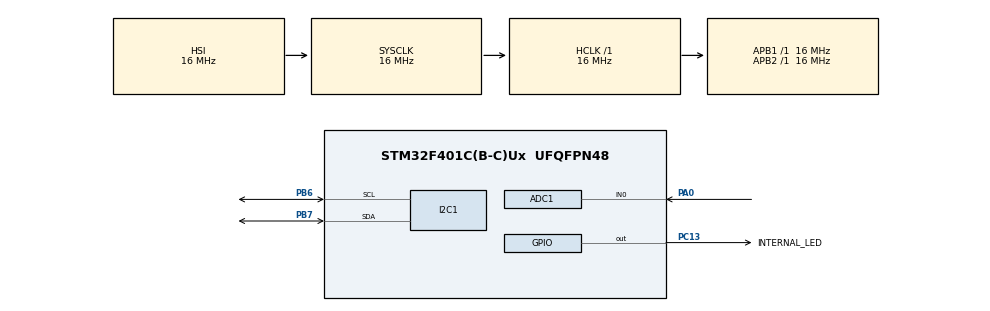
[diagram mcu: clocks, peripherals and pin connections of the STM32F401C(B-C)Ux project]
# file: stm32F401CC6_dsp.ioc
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ADC1.Channel-0\#ChannelRegularConversion=ADC_CHANNEL_0
ADC1.ClockPrescaler=ADC_CLOCK_SYNC_PCLK_DIV4
ADC1.ContinuousConvMode=ENABLE
ADC1.DMAContinuousRequests=ENABLE
ADC1.NbrOfConversionFlag=1
ADC1.Rank-0\#ChannelRegularConversion=1
ADC1.SamplingTime-0\#ChannelRegularConversion=ADC_SAMPLETIME_3CYCLES
ADC1.master=1
Dma.ADC1.0.Direction=DMA_PERIPH_TO_MEMORY
Dma.ADC1.0.FIFOMode=DMA_FIFOMODE_DISABLE
Dma.ADC1.0.Instance=DMA2_Stream0
Dma.ADC1.0.MemDataAlignment=DMA_MDATAALIGN_WORD
Dma.ADC1.0.MemInc=DMA_MINC_ENABLE
Dma.ADC1.0.Mode=DMA_CIRCULAR
Dma.ADC1.0.PeriphDataAlignment=DMA_PDATAALIGN_WORD
Dma.ADC1.0.PeriphInc=DMA_PINC_DISABLE
Dma.ADC1.0.Priority=DMA_PRIORITY_LOW
Dma.Request0=ADC1
Mcu.Family=STM32F4
Mcu.Name=STM32F401C(B-C)Ux
Mcu.Package=UFQFPN48
NVIC.DMA2_Stream0_IRQn=true\:0\:0\:false\:false\:true\:false\:true\:true
NVIC.PriorityGroup=NVIC_PRIORITYGROUP_4
PA0-WKUP.Signal=ADCx_IN0
PA13.Mode=Serial_Wire
PA13.Signal=SYS_JTMS-SWDIO
PA14.Mode=Serial_Wire
PA14.Signal=SYS_JTCK-SWCLK
PB6.Mode=I2C
PB6.Signal=I2C1_SCL
PB7.Mode=I2C
PB7.Signal=I2C1_SDA
PC13-ANTI_TAMP.GPIO_Label=INTERNAL_LED
PC13-ANTI_TAMP.Signal=GPIO_Output
ProjectManager.HeapSize=0x200
ProjectManager.StackSize=0x400
ProjectManager.TargetToolchain=STM32CubeIDE
RCC.AHBFreq_Value=16000000
RCC.APB1Freq_Value=16000000
RCC.APB1TimFreq_Value=16000000
RCC.APB2Freq_Value=16000000
RCC.APB2TimFreq_Value=16000000
RCC.CortexFreq_Value=16000000
RCC.HCLKFreq_Value=16000000
RCC.HSE_VALUE=25000000
RCC.HSI_VALUE=16000000
RCC.LSE_VALUE=32768
RCC.SYSCLKFreq_VALUE=16000000
RCC.VCOOutputFreq_Value=192000000
SH.ADCx_IN0.0=ADC1_IN0,IN0
board=custom

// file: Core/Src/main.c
/* USER CODE BEGIN Header */
/**
  ******************************************************************************
  * @file           : main.c
  * @brief          : Main program body
  ******************************************************************************
  * @attention
  *
  * Copyright (c) 2024 STMicroelectronics.
  * All rights reserved.
  *
  * This software is licensed under terms that can be found in the LICENSE file
  * in the root directory of this software component.
  * If no LICENSE file comes with this software, it is provided AS-IS.
  *
  ******************************************************************************
  */
/* USER CODE END Header */
#include "main.h"
#include "notes.h"
#include "mcp4728.h"

ADC_HandleTypeDef hadc1;
DMA_HandleTypeDef hdma_adc1;

I2C_HandleTypeDef hi2c1;

/* USER CODE BEGIN PV */
int8_t factor = 100;

void setVoltageAndCall(enum note_name noteName, int32_t delay) {
    double noteVoltage = NOTES_GetVoltage(noteName);
    uint8_t voltageLevel = (uint8_t) (noteVoltage * factor);
    MCP4728_Write_EXT_Voltage(&hi2c1, MCP4728_CHANNEL_A, voltageLevel);
    HAL_Delay(delay);
}

/* USER CODE END PV */

void SystemClock_Config(void);

static void MX_GPIO_Init(void);

static void MX_DMA_Init(void);

static void MX_ADC1_Init(void);

static void MX_I2C1_Init(void);

int main(void) {

    /* MCU Configuration--------------------------------------------------------*/

    /* Reset of all peripherals, Initializes the Flash interface and the Systick. */
    HAL_Init();

    /* Configure the system clock */
    SystemClock_Config();

    /* Initialize all configured peripherals */
    MX_GPIO_Init();
    MX_DMA_Init();
    MX_ADC1_Init();
    MX_I2C1_Init();
    /* USER CODE BEGIN 2 */
    HAL_GPIO_WritePin(INTERNAL_LED_GPIO_Port, INTERNAL_LED_Pin, GPIO_PIN_RESET);

    MCP4728_Init(&hi2c1);
    int32_t ok;

    ok = NOTES_init();
    if (ok != 0) {
        HAL_GPIO_WritePin(INTERNAL_LED_GPIO_Port, INTERNAL_LED_Pin, GPIO_PIN_SET);
    }

    /* USER CODE END 2 */

    /* Infinite loop */
    while (1) {

        /* USER CODE BEGIN 3 */
        setVoltageAndCall(NOTE_0_C, 100);
        setVoltageAndCall(NOTE_0_C_SHARP, 100);
        setVoltageAndCall(NOTE_0_D, 100);
        setVoltageAndCall(NOTE_0_D_SHARP, 100);
        setVoltageAndCall(NOTE_0_E, 100);
        setVoltageAndCall(NOTE_0_F, 100);
        setVoltageAndCall(NOTE_0_F_SHARP, 100);
        setVoltageAndCall(NOTE_0_G, 100);
        setVoltageAndCall(NOTE_0_G_SHARP, 100);
        setVoltageAndCall(NOTE_0_A, 100);
        setVoltageAndCall(NOTE_0_A_SHARP, 100);
        setVoltageAndCall(NOTE_0_B, 100);
        HAL_Delay(250);
        setVoltageAndCall(NOTE_1_C, 100);
        setVoltageAndCall(NOTE_1_C_SHARP, 100);
        setVoltageAndCall(NOTE_1_D, 100);
        setVoltageAndCall(NOTE_1_D_SHARP, 100);
        setVoltageAndCall(NOTE_1_E, 100);
        setVoltageAndCall(NOTE_1_F, 100);
        setVoltageAndCall(NOTE_1_F_SHARP, 100);
        setVoltageAndCall(NOTE_1_G, 100);
        setVoltageAndCall(NOTE_1_G_SHARP, 100);
        setVoltageAndCall(NOTE_1_A, 100);
        setVoltageAndCall(NOTE_1_A_SHARP, 100);
        setVoltageAndCall(NOTE_1_B, 100);
        HAL_Delay(250);
        setVoltageAndCall(NOTE_2_C, 100);
        setVoltageAndCall(NOTE_2_C_SHARP, 100);
        setVoltageAndCall(NOTE_2_D, 100);
        setVoltageAndCall(NOTE_2_D_SHARP, 100);
        setVoltageAndCall(NOTE_2_E, 100);
        setVoltageAndCall(NOTE_2_F, 100);
        setVoltageAndCall(NOTE_2_F_SHARP, 100);
        setVoltageAndCall(NOTE_2_G, 100);
        setVoltageAndCall(NOTE_2_G_SHARP, 100);
        setVoltageAndCall(NOTE_2_A, 100);
        setVoltageAndCall(NOTE_2_A_SHARP, 100);
        setVoltageAndCall(NOTE_2_B, 100);
        HAL_Delay(250);
        setVoltageAndCall(NOTE_3_C, 100);
        setVoltageAndCall(NOTE_3_C_SHARP, 100);
        setVoltageAndCall(NOTE_3_D, 100);
        setVoltageAndCall(NOTE_3_D_SHARP, 100);
        setVoltageAndCall(NOTE_3_E, 100);
        setVoltageAndCall(NOTE_3_F, 100);
        setVoltageAndCall(NOTE_3_F_SHARP, 100);
        setVoltageAndCall(NOTE_3_G, 100);
        setVoltageAndCall(NOTE_3_G_SHARP, 100);
        setVoltageAndCall(NOTE_3_A, 100);
        setVoltageAndCall(NOTE_3_A_SHARP, 100);
        setVoltageAndCall(NOTE_3_B, 100);
        HAL_Delay(1000);

//        C – C – G – G – A – A – G – F – F – E – E – D – D – C – G – G – F – F – E – E – D – G – G – F – F – E – E – D – C – G – G – A – G – F – F – E – E – D – C.
        setVoltageAndCall(NOTE_0_C, 200);
        setVoltageAndCall(NOTE_0_C, 100);
        setVoltageAndCall(NOTE_0_G, 200);
        setVoltageAndCall(NOTE_0_G, 100);
        setVoltageAndCall(NOTE_0_A, 200);
        setVoltageAndCall(NOTE_0_A, 200);
        setVoltageAndCall(NOTE_0_G, 100);
        setVoltageAndCall(NOTE_0_F, 200);
        setVoltageAndCall(NOTE_0_F, 200);
        setVoltageAndCall(NOTE_0_E, 200);
        setVoltageAndCall(NOTE_0_E, 200);
        setVoltageAndCall(NOTE_0_D, 200);
        setVoltageAndCall(NOTE_0_D, 200);
        setVoltageAndCall(NOTE_0_C, 400);
        setVoltageAndCall(NOTE_0_G, 200);
        setVoltageAndCall(NOTE_0_G, 200);
        setVoltageAndCall(NOTE_0_F, 100);
        setVoltageAndCall(NOTE_0_F, 200);
        setVoltageAndCall(NOTE_0_E, 150);
        setVoltageAndCall(NOTE_0_E, 200);

        HAL_Delay(1000);

    }
    /* USER CODE END 3 */
}

void SystemClock_Config(void) {
    RCC_OscInitTypeDef RCC_OscInitStruct = {0};
    RCC_ClkInitTypeDef RCC_ClkInitStruct = {0};

    /** Configure the main internal regulator output voltage
    */
    __HAL_RCC_PWR_CLK_ENABLE();
    __HAL_PWR_VOLTAGESCALING_CONFIG(PWR_REGULATOR_VOLTAGE_SCALE2);

    /** Initializes the RCC Oscillators according to the specified parameters
    * in the RCC_OscInitTypeDef structure.
    */
    RCC_OscInitStruct.OscillatorType = RCC_OSCILLATORTYPE_HSI;
    RCC_OscInitStruct.HSIState = RCC_HSI_ON;
    RCC_OscInitStruct.HSICalibrationValue = RCC_HSICALIBRATION_DEFAULT;
    RCC_OscInitStruct.PLL.PLLState = RCC_PLL_NONE;
    if (HAL_RCC_OscConfig(&RCC_OscInitStruct) != HAL_OK) {
        Error_Handler();
    }

    /** Initializes the CPU, AHB and APB buses clocks
    */
    RCC_ClkInitStruct.ClockType = RCC_CLOCKTYPE_HCLK | RCC_CLOCKTYPE_SYSCLK
                                  | RCC_CLOCKTYPE_PCLK1 | RCC_CLOCKTYPE_PCLK2;
    RCC_ClkInitStruct.SYSCLKSource = RCC_SYSCLKSOURCE_HSI;
    RCC_ClkInitStruct.AHBCLKDivider = RCC_SYSCLK_DIV1;
    RCC_ClkInitStruct.APB1CLKDivider = RCC_HCLK_DIV1;
    RCC_ClkInitStruct.APB2CLKDivider = RCC_HCLK_DIV1;

    if (HAL_RCC_ClockConfig(&RCC_ClkInitStruct, FLASH_LATENCY_0) != HAL_OK) {
        Error_Handler();
    }
}

static void MX_ADC1_Init(void) {

    ADC_ChannelConfTypeDef sConfig = {0};

    /** Configure the global features of the ADC (Clock, Resolution, Data Alignment and number of conversion)
    */
    hadc1.Instance = ADC1;
    hadc1.Init.ClockPrescaler = ADC_CLOCK_SYNC_PCLK_DIV4;
    hadc1.Init.Resolution = ADC_RESOLUTION_12B;
    hadc1.Init.ScanConvMode = DISABLE;
    hadc1.Init.ContinuousConvMode = ENABLE;
    hadc1.Init.DiscontinuousConvMode = DISABLE;
    hadc1.Init.ExternalTrigConvEdge = ADC_EXTERNALTRIGCONVEDGE_NONE;
    hadc1.Init.ExternalTrigConv = ADC_SOFTWARE_START;
    hadc1.Init.DataAlign = ADC_DATAALIGN_RIGHT;
    hadc1.Init.NbrOfConversion = 1;
    hadc1.Init.DMAContinuousRequests = ENABLE;
    hadc1.Init.EOCSelection = ADC_EOC_SINGLE_CONV;
    if (HAL_ADC_Init(&hadc1) != HAL_OK) {
        Error_Handler();
    }

    /** Configure for the selected ADC regular channel its corresponding rank in the sequencer and its sample time.
    */
    sConfig.Channel = ADC_CHANNEL_0;
    sConfig.Rank = 1;
    sConfig.SamplingTime = ADC_SAMPLETIME_3CYCLES;
    if (HAL_ADC_ConfigChannel(&hadc1, &sConfig) != HAL_OK) {
        Error_Handler();
    }

}

static void MX_I2C1_Init(void) {

    hi2c1.Instance = I2C1;
    hi2c1.Init.ClockSpeed = 100000;
    hi2c1.Init.DutyCycle = I2C_DUTYCYCLE_2;
    hi2c1.Init.OwnAddress1 = 0;
    hi2c1.Init.AddressingMode = I2C_ADDRESSINGMODE_7BIT;
    hi2c1.Init.DualAddressMode = I2C_DUALADDRESS_DISABLE;
    hi2c1.Init.OwnAddress2 = 0;
    hi2c1.Init.GeneralCallMode = I2C_GENERALCALL_DISABLE;
    hi2c1.Init.NoStretchMode = I2C_NOSTRETCH_DISABLE;
    if (HAL_I2C_Init(&hi2c1) != HAL_OK) {
        Error_Handler();
    }

}

static void MX_DMA_Init(void) {

    /* DMA controller clock enable */
    __HAL_RCC_DMA2_CLK_ENABLE();

    /* DMA interrupt init */
    /* DMA2_Stream0_IRQn interrupt configuration */
    HAL_NVIC_SetPriority(DMA2_Stream0_IRQn, 0, 0);
    HAL_NVIC_EnableIRQ(DMA2_Stream0_IRQn);

}

static void MX_GPIO_Init(void) {
    GPIO_InitTypeDef GPIO_InitStruct = {0};

    /* GPIO Ports Clock Enable */
    __HAL_RCC_GPIOC_CLK_ENABLE();
    __HAL_RCC_GPIOA_CLK_ENABLE();
    __HAL_RCC_GPIOB_CLK_ENABLE();

    /*Configure GPIO pin Output Level */
    HAL_GPIO_WritePin(INTERNAL_LED_GPIO_Port, INTERNAL_LED_Pin, GPIO_PIN_RESET);

    /*Configure GPIO pin : INTERNAL_LED_Pin */
    GPIO_InitStruct.Pin = INTERNAL_LED_Pin;
    GPIO_InitStruct.Mode = GPIO_MODE_OUTPUT_PP;
    GPIO_InitStruct.Pull = GPIO_NOPULL;
    GPIO_InitStruct.Speed = GPIO_SPEED_FREQ_LOW;
    HAL_GPIO_Init(INTERNAL_LED_GPIO_Port, &GPIO_InitStruct);

}

void Error_Handler(void) {
    __disable_irq();
    while (1) {
    }
}
